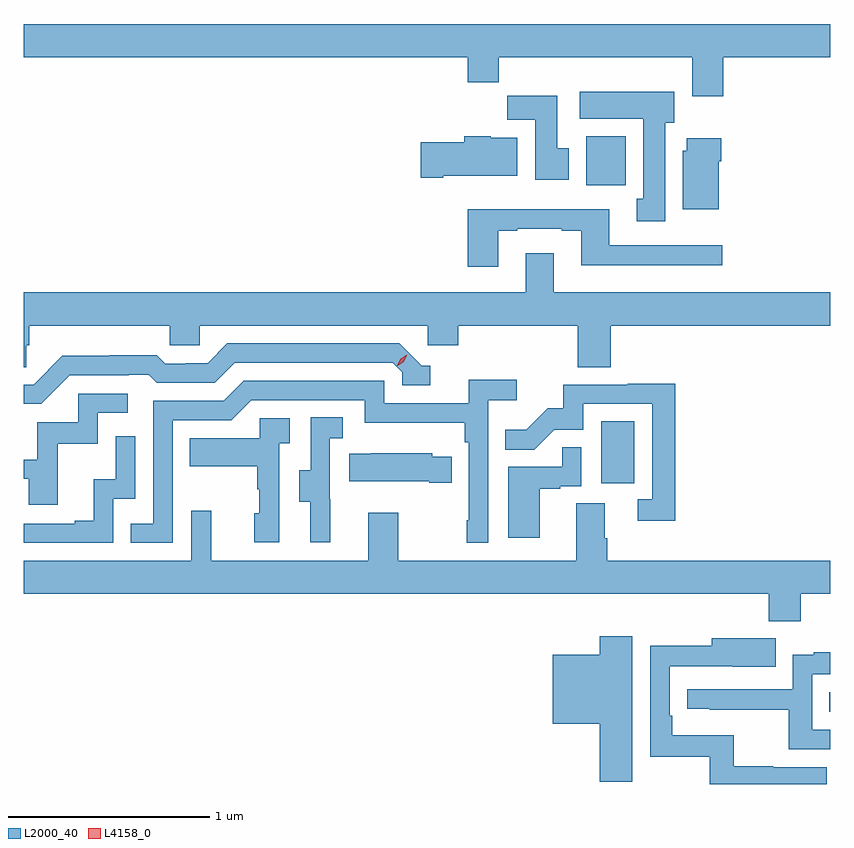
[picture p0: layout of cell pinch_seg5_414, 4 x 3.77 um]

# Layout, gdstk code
import gdstk
lib = gdstk.Library(unit=1e-6, precision=1e-09)
def R(c, l, rs):  # rectangles x0, y0, x1, y1
    for r in rs: c.add(gdstk.rectangle(r[:2], r[2:], *l))
def P(c, l, *ps):  # polygons
    for p in ps: c.add(gdstk.Polygon(p, *l))
L2000_40 = (2000, 40)
L4158_0 = (4158, 0)

pinch_seg5_414 = lib.new_cell('pinch_seg5_414')
R(pinch_seg5_414, L2000_40, [(975.241,858.84,975.244,858.936), (974.108,859.974,974.272,860.281), (974.033,861.452,974.23,861.694)])
P(pinch_seg5_414, L2000_40, [(974.714,862.088),(975.244,862.088),(975.244,862.252),(971.244,862.252),(971.244,862.088),(973.445,862.088),(973.445,861.964),(973.601,861.964),(973.601,862.088),(974.561,862.088),(974.561,861.894),(974.714,861.894)],
  [(974.425,861.762),(974.47,861.762),(974.47,861.916),(974.001,861.916),(974.001,861.782),(974.318,861.782),(974.318,861.386),(974.285,861.386),(974.285,861.273),(974.425,861.273)],
  [(973.948,861.636),(973.891,861.636),(973.891,861.895),(973.642,861.895),(973.642,861.776),(973.781,861.776),(973.781,861.48),(973.948,861.48)],
  [(973.324,861.5),(973.693,861.5),(973.693,861.688),(973.56,861.688),(973.56,861.694),(973.43,861.694),(973.43,861.666),(973.212,861.666),(973.212,861.488),(973.324,861.488)],
  [(974.692,861.572),(974.705,861.572),(974.705,861.685),(974.534,861.685),(974.534,861.624),(974.513,861.624),(974.513,861.332),(974.692,861.332)],
  [(973.597,861.225),(973.693,861.225),(973.693,861.237),(973.913,861.237),(973.913,861.225),(974.009,861.225),(974.009,861.056),(974.71,861.056),(974.71,861.153),(974.149,861.153),(974.149,861.334),(973.445,861.334),(973.445,861.048),(973.597,861.048)],
  [(971.255,860.658),(971.27,860.658),(971.27,860.756),(971.967,860.756),(971.967,860.658),(972.117,860.658),(972.117,860.756),(973.248,860.756),(973.248,860.658),(973.4,860.658),(973.4,860.756),(973.991,860.756),(973.991,860.548),(974.156,860.548),(974.156,860.756),(975.244,860.756),(975.244,860.92),(973.873,860.92),(973.873,861.115),(973.733,861.115),(973.733,860.92),(971.244,860.92),(971.244,860.548),(971.255,860.548)],
  [(971.472,860.508),(971.765,860.508),(971.765,860.511),(971.864,860.511),(971.903,860.472),(972.192,860.472),(972.291,860.571),(973.074,860.571),(973.122,860.523),(973.122,860.46),(973.261,860.46),(973.261,860.556),(973.218,860.556),(973.107,860.667),(972.254,860.667),(972.155,860.568),(972.048,860.568),(972.048,860.565),(971.945,860.565),(971.903,860.608),(971.67,860.608),(971.67,860.605),(971.434,860.605),(971.292,860.463),(971.244,860.463),(971.244,860.367),(971.331,860.367)],
  [(971.982,860.286),(972.273,860.286),(972.372,860.385),(972.936,860.385),(972.936,860.273),(973.432,860.273),(973.432,860.177),(973.452,860.177),(973.452,859.789),(973.44,859.789),(973.44,859.677),(973.548,859.677),(973.548,860.384),(973.69,860.384),(973.69,860.486),(973.451,860.486),(973.451,860.37),(973.032,860.37),(973.032,860.481),(972.335,860.481),(972.236,860.382),(971.886,860.382),(971.886,859.773),(971.773,859.773),(971.773,859.677),(971.982,859.677)],
  [(974.477,860.468),(974.239,860.468),(974.239,860.463),(973.921,860.463),(973.921,860.346),(973.844,860.346),(973.737,860.239),(973.633,860.239),(973.633,860.14),(973.777,860.14),(973.875,860.238),(974.019,860.238),(974.019,860.367),(974.361,860.367),(974.361,859.893),(974.289,859.893),(974.289,859.788),(974.477,859.788)],
  [(971.411,860.169),(971.61,860.169),(971.61,860.322),(971.758,860.322),(971.758,860.418),(971.514,860.418),(971.514,860.277),(971.309,860.277),(971.309,860.091),(971.244,860.091),(971.244,859.995),(971.267,859.995),(971.267,859.866),(971.411,859.866)],
  [(972.764,859.893),(972.762,859.893),(972.762,860.197),(972.826,860.197),(972.826,860.3),(972.666,860.3),(972.666,860.037),(972.611,860.037),(972.611,859.882),(972.665,859.882),(972.665,859.68),(972.764,859.68)],
  [(972.51,860.171),(972.562,860.171),(972.562,860.295),(972.414,860.295),(972.414,860.197),(972.067,860.197),(972.067,860.057),(972.402,860.057),(972.402,859.943),(972.412,859.943),(972.412,859.824),(972.386,859.824),(972.386,859.68),(972.51,859.68)],
  [(971.688,859.896),(971.796,859.896),(971.796,860.206),(971.7,860.206),(971.7,859.994),(971.591,859.994),(971.591,859.786),(971.495,859.786),(971.495,859.773),(971.244,859.773),(971.244,859.677),(971.688,859.677)],
  [(973.804,859.947),(973.904,859.947),(973.904,859.959),(974.01,859.959),(974.01,860.153),(973.915,860.153),(973.915,860.055),(973.646,860.055),(973.646,859.704),(973.804,859.704)],
  [(973.367,860.104),(973.269,860.104),(973.269,860.122),(972.967,860.122),(972.967,860.119),(972.859,860.119),(972.859,859.982),(973.256,859.982),(973.256,859.975),(973.367,859.975)],
  [(975.099,859.424),(975.244,859.424),(975.244,859.588),(974.138,859.588),(974.138,859.7),(974.125,859.7),(974.125,859.874),(973.985,859.874),(973.985,859.588),(973.101,859.588),(973.101,859.828),(972.953,859.828),(972.953,859.588),(972.173,859.588),(972.173,859.837),(972.075,859.837),(972.075,859.588),(971.244,859.588),(971.244,859.424),(974.939,859.424),(974.939,859.289),(975.099,859.289)],
  [(974.263,859.213),(974.102,859.213),(974.102,859.123),(973.868,859.123),(973.868,858.779),(974.102,858.779),(974.102,858.492),(974.263,858.492)],
  [(975.228,858.564),(974.963,858.564),(974.963,858.569),(974.767,858.569),(974.767,858.724),(974.462,858.724),(974.462,858.82),(974.448,858.82),(974.448,859.065),(974.761,859.065),(974.761,859.064),(974.975,859.064),(974.975,859.204),(974.657,859.204),(974.657,859.166),(974.352,859.166),(974.352,858.615),(974.646,858.615),(974.646,858.481),(975.228,858.481)],
  [(975.244,858.75),(975.156,858.75),(975.156,859.026),(975.244,859.026),(975.244,859.135),(975.163,859.135),(975.163,859.123),(975.06,859.123),(975.06,858.951),(974.535,858.951),(974.535,858.855),(974.647,858.855),(974.647,858.85),(975.04,858.85),(975.04,858.654),(975.244,858.654)])
P(pinch_seg5_414, L4158_0, [(973.097,860.557),(973.097,860.558),(973.113,860.59),(973.144,860.61),(973.144,860.61),(973.144,860.609),(973.128,860.577),(973.098,860.557)])

lib.write_gds('pinch_seg5_414.gds')
